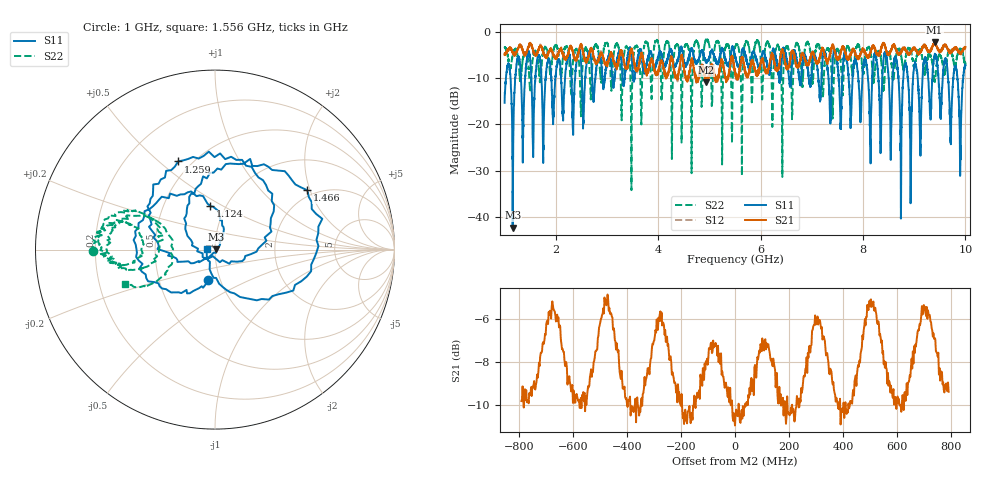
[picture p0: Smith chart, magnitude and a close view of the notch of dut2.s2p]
!Created with skrf (http://scikit-rf.org).
# GHz S RI R 376.73031366686166
!freq ReS11 ImS11 ReS21 ImS21 ReS12 ImS12 ReS22 ImS22
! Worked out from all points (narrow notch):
!   4001 points, 1 GHz to 10 GHz, reference 376.73 ohm
!   highest |S21| = -2.23 dB at 9.397 GHz (marker M1); lowest = -10.9 dB at 4.935 GHz (marker M2)
!   notch at M2: 5.7 dB deep, 132 MHz wide at half that depth
!   lowest |S11| = -42.3 dB at 1.157 GHz (marker M3), VSWR 1.02, Z = 382 + j1.94 ohm
!   |S11| at or under -10 dB: 8.876 GHz to 8.976 GHz (100.4 MHz wide, 1.12 % of centre); 9.663 GHz to 9.761 GHz (98.43 MHz wide, 1.01 % of centre); 9.843 GHz to 9.957 GHz (113.8 MHz wide, 1.15 % of centre)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
!   |S22| runs from -34.2 to -1.5 dB; largest |S21 - S12| = 0.054
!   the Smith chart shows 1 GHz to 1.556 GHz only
!   S11 on the Smith chart (normalised r, x): 1 GHz: 0.88, -0.30; 1.124 GHz: 0.85, +0.44; 1.259 GHz: 0.42, +0.58; 1.466 GHz: 1.82, +1.92; 1.556 GHz: 0.91, +0.00
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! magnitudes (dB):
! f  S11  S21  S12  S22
! 1 GHz  -15.3  -4.9  -4.8  -3.4
! 1.124 GHz  -12.3  -3.5  -3.6  -7.3
! 1.157 GHz  -42.3  -4.4  -4.5  -5.4
! 1.259 GHz  -5.5  -3.8  -3.7  -5.6
! 1.362 GHz  -22.9  -4.2  -4.2  -5.2
! 1.466 GHz  -4.3  -3.4  -3.0  -7.3
! 1.556 GHz  -27.0  -4.1  -3.9  -5.4
! 1.661 GHz  -5.1  -3.7  -3.9  -7.2
! 1.76 GHz  -23.0  -5.0  -4.6  -4.0
! 2.501 GHz  -8.2  -2.8  -3.0  -13.3
! 4.002 GHz  -5.3  -8.5  -8.5  -2.4
! 4.935 GHz  -6.2  -10.9  -10.2  -1.8
! 5.5 GHz  -5.4  -9.0  -8.9  -3.2
! 7.001 GHz  -8.3  -4.8  -4.9  -8.8
! 8.502 GHz  -10.0  -4.7  -4.8  -4.5
! 8.639 GHz  -5.5  -3.5  -3.7  -5.4
! 8.742 GHz  -39.8  -4.3  -4.3  -5.1
! 8.837 GHz  -6.8  -4.2  -3.9  -5.5
! 8.929 GHz  -37.0  -4.5  -4.6  -4.0
! 9.397 GHz  -5.1  -2.2  -2.4  -10.6
! 9.899 GHz  -30.9  -4.5  -4.3  -3.7
! 10 GHz  -7.2  -3.2  -3.3  -7.2
